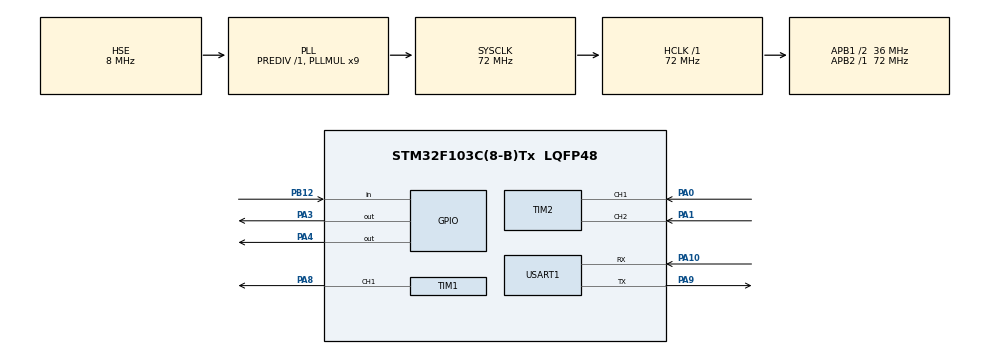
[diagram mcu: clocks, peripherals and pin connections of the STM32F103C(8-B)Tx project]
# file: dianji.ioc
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Mcu.Family=STM32F1
Mcu.Name=STM32F103C(8-B)Tx
Mcu.Package=LQFP48
NVIC.PriorityGroup=NVIC_PRIORITYGROUP_4
NVIC.TIM3_IRQn=true\:0\:0\:false\:false\:true\:true\:true\:true
PA0-WKUP.GPIO_PuPd=GPIO_PULLUP
PA0-WKUP.Signal=S_TIM2_CH1_ETR
PA1.GPIO_PuPd=GPIO_PULLUP
PA1.Signal=S_TIM2_CH2
PA10.Mode=Asynchronous
PA10.Signal=USART1_RX
PA13.Mode=Serial_Wire
PA13.Signal=SYS_JTMS-SWDIO
PA14.Mode=Serial_Wire
PA14.Signal=SYS_JTCK-SWCLK
PA3.GPIO_PuPd=GPIO_PULLUP
PA3.Signal=GPIO_Output
PA4.GPIO_PuPd=GPIO_PULLUP
PA4.Signal=GPIO_Output
PA8.Signal=S_TIM1_CH1
PA9.Mode=Asynchronous
PA9.Signal=USART1_TX
PB12.GPIO_PuPd=GPIO_PULLUP
PB12.Signal=GPIO_Input
PC14-OSC32_IN.Mode=LSE-External-Oscillator
PC14-OSC32_IN.Signal=RCC_OSC32_IN
PC15-OSC32_OUT.Mode=LSE-External-Oscillator
PC15-OSC32_OUT.Signal=RCC_OSC32_OUT
PD0-OSC_IN.Mode=HSE-External-Oscillator
PD0-OSC_IN.Signal=RCC_OSC_IN
PD1-OSC_OUT.Mode=HSE-External-Oscillator
PD1-OSC_OUT.Signal=RCC_OSC_OUT
ProjectManager.HeapSize=0x200
ProjectManager.StackSize=0x400
ProjectManager.TargetToolchain=MDK-ARM V5.32
RCC.AHBFreq_Value=72000000
RCC.APB1CLKDivider=RCC_HCLK_DIV2
RCC.APB1Freq_Value=36000000
RCC.APB1TimFreq_Value=72000000
RCC.APB2Freq_Value=72000000
RCC.APB2TimFreq_Value=72000000
RCC.HCLKFreq_Value=72000000
RCC.PLLMUL=RCC_PLL_MUL9
RCC.PLLSourceVirtual=RCC_PLLSOURCE_HSE
RCC.SYSCLKFreq_VALUE=72000000
RCC.SYSCLKSource=RCC_SYSCLKSOURCE_PLLCLK
RCC.USBFreq_Value=72000000
SH.S_TIM1_CH1.0=TIM1_CH1,PWM Generation1 CH1
SH.S_TIM2_CH1_ETR.0=TIM2_CH1,Encoder_Interface
SH.S_TIM2_CH2.0=TIM2_CH2,Encoder_Interface
TIM1.Channel-PWM\ Generation1\ CH1=TIM_CHANNEL_1
TIM1.Period=1000-1
TIM1.Prescaler=72-1
TIM2.EncoderMode=TIM_ENCODERMODE_TI12
TIM3.Period=10000-1
TIM3.Prescaler=72-1
USART1.VirtualMode=VM_ASYNC
VP_TIM1_VS_ClockSourceINT.Mode=Internal
VP_TIM3_VS_ClockSourceINT.Mode=Internal
board=custom

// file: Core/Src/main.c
/* USER CODE BEGIN Header */
/**
  ******************************************************************************
  * @file           : main.c
  * @brief          : Main program body
  ******************************************************************************
  * @attention
  *
  * Copyright (c) 2024 STMicroelectronics.
  * All rights reserved.
  *
  * This software is licensed under terms that can be found in the LICENSE file
  * in the root directory of this software component.
  * If no LICENSE file comes with this software, it is provided AS-IS.
  *
  ******************************************************************************
  */
/* USER CODE END Header */
#include "main.h"
#include "tim.h"
#include "usart.h"
#include "gpio.h"

/* USER CODE BEGIN Includes */
#include "string.h"
#include "stdio.h"
/* USER CODE END Includes */

/* USER CODE BEGIN PV */
#define limit(a,max) \
{if(a>max) a=max;		\
if(a<-max) a=-max;}  \
/* USER CODE END PV */

void SystemClock_Config(void);
/* USER CODE BEGIN PFP */
struct  keys
{ uint8_t key_check;
	uint8_t key_juade;
	uint8_t key_flag;
};
struct keys key;
/* USER CODE END PFP */

/* USER CODE BEGIN 0 */
short	Encode1Count = 0;
short	LASTEncode1Count = 0;
float Motor1Speed=0.00;
float Kp=6;
float Ki=0.006;
float Kd=6;
float err=0;
float goal_speed=0.00;
float last_err=0;
float err_difference=0;
float err_sum=0;
float pid_out=0;
float pwm_value=0;

void HAL_TIM_PeriodElapsedCallback(TIM_HandleTypeDef *htim)
{ if(htim->Instance==TIM3)   //10ms定时器
	{
		key.key_check =HAL_GPIO_ReadPin(GPIOB,GPIO_PIN_12 );

			switch(key.key_juade)
			{
				case 0:										//检测按键按下
				{
					if(key.key_check==0)
					{key.key_juade =1;}
				}break ;

				case 1:										//是否真的按下
				{
					if(key.key_check==0)
					{key.key_juade =2;
					 key.key_flag =1;
					}
					else key.key_juade =0;
				}break ;

				case 2:										//按键释放状态
				{
					if(key.key_check==1)
					{key.key_juade =0;
					//key[i].key_flag =1;
					}
				}break ;

		  }

			if(key.key_flag ==1)
		{
			if(goal_speed ==4)
				goal_speed =0;
			goal_speed +=1;
			key.key_flag =0;
		}

			//pid控制过程
		err_difference=err-last_err ;
		err=goal_speed-Motor1Speed ;
		err_sum +=err ;
		limit(err_sum,6);
		last_err=err;
		pid_out =Kp*err+Kd*err_difference+Ki*err_sum  ;
		pwm_value +=pid_out ;
		if(pwm_value>=1000) pwm_value =1000;
		__HAL_TIM_SET_COMPARE (&htim1,TIM_CHANNEL_1 ,pwm_value );
	}
}

/* USER CODE END 0 */

int main(void)
{

  /* MCU Configuration--------------------------------------------------------*/

  /* Reset of all peripherals, Initializes the Flash interface and the Systick. */
  HAL_Init();

  /* Configure the system clock */
  SystemClock_Config();

  /* Initialize all configured peripherals */
  MX_GPIO_Init();
  MX_TIM1_Init();
  MX_TIM2_Init();
  MX_USART1_UART_Init();
  MX_TIM3_Init();
  /* USER CODE BEGIN 2 */
  HAL_TIM_PWM_Start(&htim1 ,TIM_CHANNEL_1 );
  HAL_TIM_PWM_Start (&htim2,TIM_CHANNEL_ALL );
	HAL_TIM_Encoder_Start(&htim2,TIM_CHANNEL_ALL);
  HAL_TIM_Base_Start_IT (&htim2);
	HAL_TIM_Base_Start_IT (&htim3);
	char message[] = "";
	__HAL_TIM_SET_COMPARE (&htim1,TIM_CHANNEL_1 ,0 );

  /* USER CODE END 2 */

  /* Infinite loop */
  while (1)
  {

    /* USER CODE BEGIN 3 */
			HAL_GPIO_WritePin (GPIOA ,GPIO_PIN_3,GPIO_PIN_SET );
  HAL_GPIO_WritePin (GPIOA ,GPIO_PIN_4,GPIO_PIN_RESET );

	Encode1Count =(short)__HAL_TIM_GET_COUNTER (&htim2);
//	Encode1Count = TIM2->CNT;

	Motor1Speed =(float)Encode1Count *10/21.3/11/4;// r/s
	__HAL_TIM_SET_COUNTER(&htim2,0);

	sprintf (message,"counter: %f",Motor1Speed );
	HAL_UART_Transmit(&huart1,(uint8_t*)message,strlen(message),100);
  HAL_Delay (100);
  }
  /* USER CODE END 3 */
}

void SystemClock_Config(void)
{
  RCC_OscInitTypeDef RCC_OscInitStruct = {0};
  RCC_ClkInitTypeDef RCC_ClkInitStruct = {0};

  /** Initializes the RCC Oscillators according to the specified parameters
  * in the RCC_OscInitTypeDef structure.
  */
  RCC_OscInitStruct.OscillatorType = RCC_OSCILLATORTYPE_HSE;
  RCC_OscInitStruct.HSEState = RCC_HSE_ON;
  RCC_OscInitStruct.HSEPredivValue = RCC_HSE_PREDIV_DIV1;
  RCC_OscInitStruct.HSIState = RCC_HSI_ON;
  RCC_OscInitStruct.PLL.PLLState = RCC_PLL_ON;
  RCC_OscInitStruct.PLL.PLLSource = RCC_PLLSOURCE_HSE;
  RCC_OscInitStruct.PLL.PLLMUL = RCC_PLL_MUL9;
  if (HAL_RCC_OscConfig(&RCC_OscInitStruct) != HAL_OK)
  {
    Error_Handler();
  }

  /** Initializes the CPU, AHB and APB buses clocks
  */
  RCC_ClkInitStruct.ClockType = RCC_CLOCKTYPE_HCLK|RCC_CLOCKTYPE_SYSCLK
                              |RCC_CLOCKTYPE_PCLK1|RCC_CLOCKTYPE_PCLK2;
  RCC_ClkInitStruct.SYSCLKSource = RCC_SYSCLKSOURCE_PLLCLK;
  RCC_ClkInitStruct.AHBCLKDivider = RCC_SYSCLK_DIV1;
  RCC_ClkInitStruct.APB1CLKDivider = RCC_HCLK_DIV2;
  RCC_ClkInitStruct.APB2CLKDivider = RCC_HCLK_DIV1;

  if (HAL_RCC_ClockConfig(&RCC_ClkInitStruct, FLASH_LATENCY_2) != HAL_OK)
  {
    Error_Handler();
  }
}

void Error_Handler(void)
{
  __disable_irq();
  while (1)
  {
  }
}
